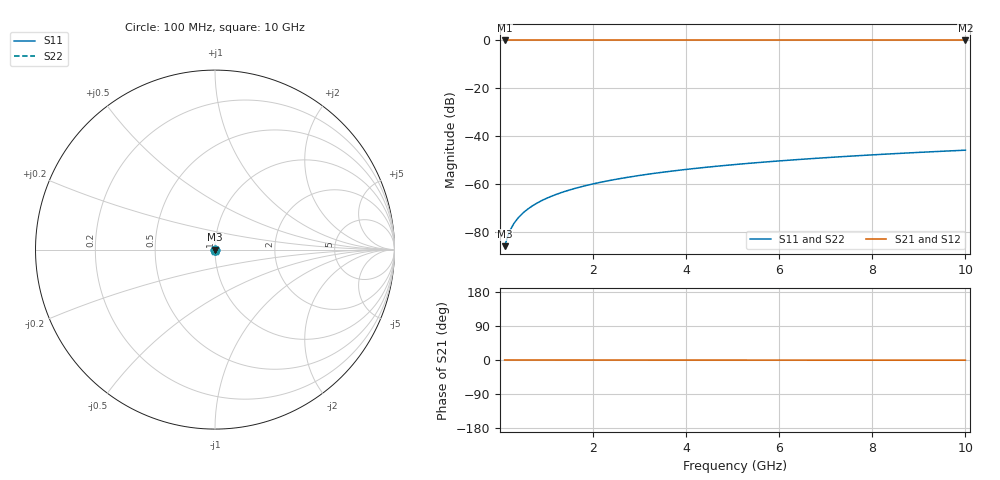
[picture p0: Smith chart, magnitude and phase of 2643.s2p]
# Hz S RI R 50.00
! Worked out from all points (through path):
!   100 points, 100 MHz to 10 GHz, reference 50 ohm
!   highest |S21| = 0.00 dB at 100 MHz (marker M1); lowest = 0.0 dB at 10 GHz (marker M2)
!   lowest |S11| = -86.0 dB at 100 MHz (marker M3), VSWR 1.00, Z = 50 - j0.00501 ohm
!   |S11| at or under -10 dB: start of sweep to end of sweep
!   |S22| runs from -86.0 to -45.9 dB; largest |S21 - S12| = 0
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1e8  3.25e-06 -5.01e-05  1 -7.84e-05  1 -7.84e-05  3.25e-06 -5.01e-05
2e8  3.2e-06 -0.0001  1 -0.000157  1 -0.000157  3.2e-06 -0.0001
3e8  3.14e-06 -0.00015  1 -0.000235  1 -0.000235  3.14e-06 -0.00015
4e8  3.07e-06 -0.000201  1 -0.000314  1 -0.000314  3.07e-06 -0.000201
5e8  2.98e-06 -0.000251  1 -0.000392  1 -0.000392  2.98e-06 -0.000251
6e8  2.89e-06 -0.000301  1 -0.00047  1 -0.00047  2.89e-06 -0.000301
7e8  2.79e-06 -0.000351  1 -0.000549  1 -0.000549  2.79e-06 -0.000351
8e8  2.68e-06 -0.000401  1 -0.000627  1 -0.000627  2.68e-06 -0.000401
1e9  2.43e-06 -0.000502  1 -0.000784  1 -0.000784  2.43e-06 -0.000502
1.2e9  2.15e-06 -0.000602  1 -0.000941  1 -0.000941  2.15e-06 -0.000602
1.5e9  1.67e-06 -0.000753  1 -0.00118  1 -0.00118  1.67e-06 -0.000753
1.8e9  1.11e-06 -0.000904  1 -0.00141  1 -0.00141  1.11e-06 -0.000904
2.1e9  4.79e-07 -0.00106  1 -0.00165  1 -0.00165  4.79e-07 -0.00106
2.5e9  -4.75e-07 -0.00126  1 -0.00196  1 -0.00196  -4.75e-07 -0.00126
2.9e9  -1.56e-06 -0.00146  1 -0.00228  1 -0.00228  -1.56e-06 -0.00146
3.4e9  -3.1e-06 -0.00171  1 -0.00268  1 -0.00268  -3.1e-06 -0.00171
4.2e9  -5.99e-06 -0.00212  1 -0.00331  1 -0.00331  -5.99e-06 -0.00212
5.1e9  -9.87e-06 -0.00258  1 -0.00403  1 -0.00403  -9.87e-06 -0.00258
5.9e9  -1.39e-05 -0.00299  1 -0.00466  1 -0.00466  -1.39e-05 -0.00299
6.7e9  -1.84e-05 -0.0034  1 -0.0053  1 -0.0053  -1.84e-05 -0.0034
8.4e9  -2.99e-05 -0.00427  1 -0.00667  1 -0.00667  -2.99e-05 -0.00427
1e10  -4.29e-05 -0.00509  0.9999 -0.00796  0.9999 -0.00796  -4.29e-05 -0.00509
